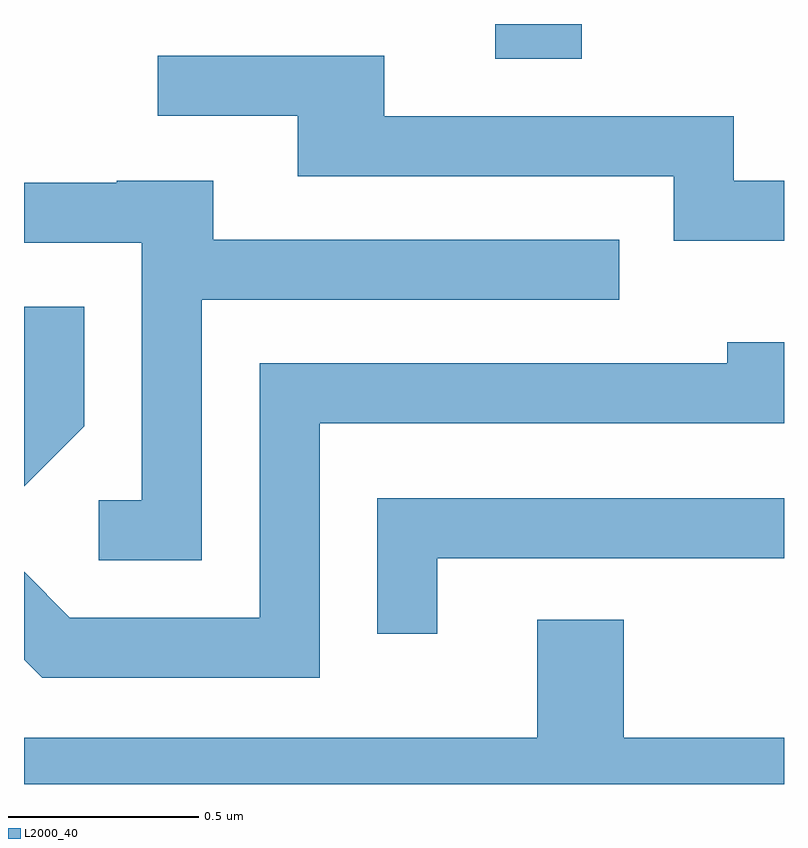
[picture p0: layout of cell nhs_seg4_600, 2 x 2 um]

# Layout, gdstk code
import gdstk
lib = gdstk.Library(unit=1e-6, precision=1e-09)
def R(c, l, rs):  # rectangles x0, y0, x1, y1
    for r in rs: c.add(gdstk.rectangle(r[:2], r[2:], *l))
def P(c, l, *ps):  # polygons
    for p in ps: c.add(gdstk.Polygon(p, *l))
L2000_40 = (2000, 40)

nhs_seg4_600 = lib.new_cell('nhs_seg4_600')
R(nhs_seg4_600, L2000_40, [(190.851,1307.891,191.079,1307.982)])
P(nhs_seg4_600, L2000_40, [(191.611,1307.569),(191.479,1307.569),(191.479,1307.739),(190.559,1307.739),(190.559,1307.899),(189.963,1307.899),(189.963,1307.741),(190.331,1307.741),(190.331,1307.581),(191.321,1307.581),(191.321,1307.411),(191.611,1307.411)],
  [(190.079,1307.256),(191.178,1307.256),(191.178,1307.414),(190.109,1307.414),(190.109,1307.569),(189.855,1307.569),(189.855,1307.564),(189.611,1307.564),(189.611,1307.406),(189.921,1307.406),(189.921,1306.729),(189.808,1306.729),(189.808,1306.571),(190.079,1306.571)],
  [(189.769,1306.924),(189.769,1307.238),(189.611,1307.238),(189.611,1306.765)],
  [(190.389,1306.931),(191.611,1306.931),(191.611,1307.144),(191.461,1307.144),(191.461,1307.089),(190.231,1307.089),(190.231,1306.419),(189.732,1306.419),(189.611,1306.54),(189.611,1306.309),(189.659,1306.261),(190.389,1306.261)],
  [(190.699,1306.576),(191.611,1306.576),(191.611,1306.734),(190.541,1306.734),(190.541,1306.378),(190.699,1306.378)],
  [(191.611,1306.104),(191.189,1306.104),(191.189,1306.414),(190.961,1306.414),(190.961,1306.104),(189.611,1306.104),(189.611,1305.982),(191.611,1305.982)])

lib.write_gds('nhs_seg4_600.gds')
